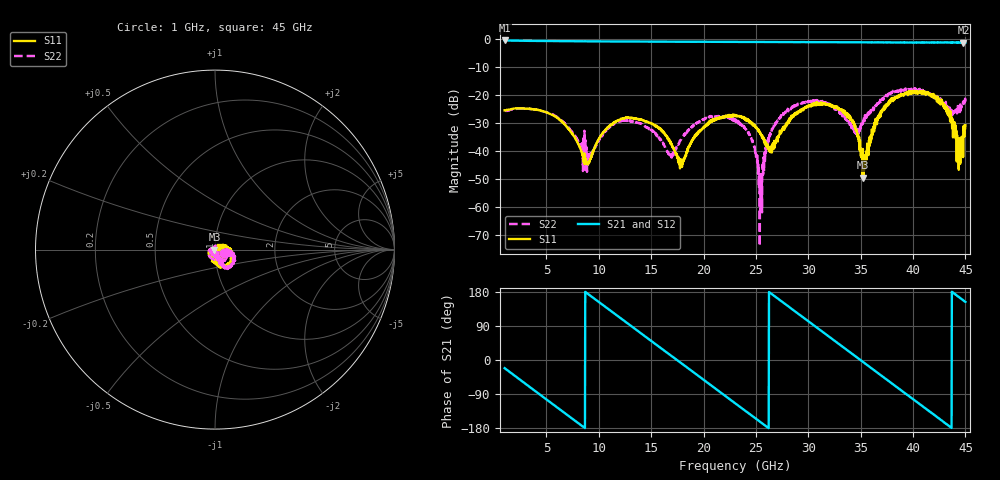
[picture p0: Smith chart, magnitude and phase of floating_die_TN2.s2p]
!Keysight Technologies,N5247B,MY61255062,A.19.80.06
!Date: Thursday, May 21, 2026 11:44:16
!Correction: S11(Cdelta 2-Port  )
!S21(Cdelta 2-Port  )
!S12(Cdelta 2-Port  )
!S22(Cdelta 2-Port  )
!S2P File: Measurements: S11, S21, S12, S22:
# Hz S  dB  R 50
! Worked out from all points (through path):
!   1601 points, 1 GHz to 45 GHz, reference 50 ohm
!   highest |S21| = -0.49 dB at 1 GHz (marker M1); lowest = -1.3 dB at 44.81 GHz (marker M2)
!   group delay of S21, straight-line fit = 57.1 ps
!   lowest |S11| = -49.4 dB at 35.18 GHz (marker M3), VSWR 1.01, Z = 49.7 + j0.00836 ohm
!   |S11| at or under -10 dB: start of sweep to end of sweep
!   |S22| runs from -73.9 to -17.6 dB; largest |S21 - S12| = 0.014
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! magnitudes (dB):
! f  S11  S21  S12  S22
! 1 GHz  -25.4  -0.5  -0.5  -25.5
! 5.702 GHz  -27.4  -0.7  -0.7  -27.1
! 8.342 GHz  -40.5  -0.8  -0.8  -37.4
! 9.085 GHz  -43.6  -0.8  -0.8  -41.0
! 12.25 GHz  -28.3  -0.9  -0.9  -29.2
! 15.69 GHz  -31.5  -0.9  -0.9  -35.0
! 16.92 GHz  -37.7  -1.0  -1.0  -41.5
! 17.89 GHz  -43.5  -1.0  -1.0  -35.6
! 20.41 GHz  -30.5  -1.0  -1.0  -28.0
! 23 GHz  -27.2  -1.0  -1.0  -28.6
! 24.65 GHz  -30.3  -1.0  -1.0  -36.6
! 25.48 GHz  -34.1  -1.0  -1.0  -55.9
! 26.74 GHz  -36.3  -1.1  -1.1  -30.9
! 30.34 GHz  -23.7  -1.1  -1.1  -21.7
! 33.81 GHz  -28.0  -1.2  -1.1  -29.7
! 35.18 GHz  -49.4  -1.2  -1.2  -30.4
! 37.69 GHz  -22.6  -1.2  -1.2  -19.4
! 41.92 GHz  -20.8  -1.2  -1.2  -20.4
! 43.38 GHz  -27.3  -1.2  -1.2  -24.7
! 44.4 GHz  -36.9  -1.3  -1.2  -24.5
! 44.81 GHz  -33.6  -1.3  -1.3  -22.9
! 45 GHz  -30.8  -1.3  -1.3  -22.4
